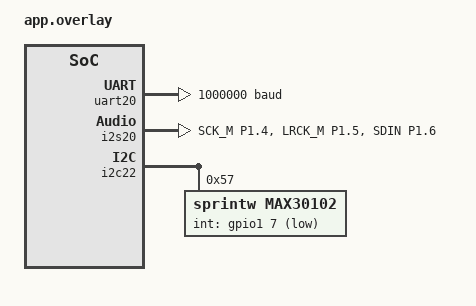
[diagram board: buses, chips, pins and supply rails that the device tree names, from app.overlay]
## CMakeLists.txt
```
# SPDX-License-Identifier: Apache-2.0
# Sprint W 수집 펌웨어 (Acquisition firmware) — Day 2: PPG, Day 3: 마이크·IMU, Day 4: 통합

cmake_minimum_required(VERSION 3.20.0)
find_package(Zephyr REQUIRED HINTS $ENV{ZEPHYR_BASE})
project(acq_fw)

target_sources(app PRIVATE
	src/main.c
	src/frame_tx.c
	src/mic.c
	src/mic_pdm.c
	src/imu.c
	src/max30102.c
)

# MIC_RAW=1 이면 decimation 없이 33.3 kHz 원본을 보냄 (짧은 비교 시험용)
# MIC_RAW=1 sends the 33.3 kHz stream without decimation (short comparison test)
if(DEFINED MIC_RAW)
	target_compile_definitions(app PRIVATE MIC_RAW=${MIC_RAW})
endif()

# 센서 선택 (Sensor selection) — 기본은 모두 켬 (all on by default)
#   -DMIC_I2S=0 : SPH0645(I2S) 끔 / disable SPH0645
#   -DMIC_PDM=0 : 내장 PDM 마이크 끔 / disable on-board PDM mic
#   -DIMU=0     : 내장 IMU 끔 / disable on-board IMU
#   -DPPG=0     : MAX30102 끔 / disable MAX30102
#   -DPPG_LED_RED=0x24 -DPPG_LED_IR=0x24 : PPG LED 전류 (0.2 mA/LSB)
#   -DPDM_OUT_CH=1 : PDM 출력 채널 R / output the R channel
foreach(opt MIC_I2S MIC_PDM IMU PPG)
	if(NOT DEFINED ${opt})
		set(${opt} 1)
	endif()
	target_compile_definitions(app PRIVATE ${opt}=${${opt}})
endforeach()
if(DEFINED PDM_OUT_CH)
	target_compile_definitions(app PRIVATE PDM_OUT_CH=${PDM_OUT_CH})
endif()
foreach(opt PPG_LED_RED PPG_LED_IR)
	if(DEFINED ${opt})
		target_compile_definitions(app PRIVATE ${opt}=${${opt}})
	endif()
endforeach()
```

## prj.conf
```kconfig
# acq_fw 설정 (Configuration)

# uart20은 바이너리 프레임 전용 → 콘솔·로그 끔 (uart20 carries binary frames only)
CONFIG_CONSOLE=n
CONFIG_UART_CONSOLE=n
CONFIG_LOG=n
CONFIG_BOOT_BANNER=n

# UART 비동기 API (EasyDMA) / UART async API
CONFIG_SERIAL=y
CONFIG_UART_ASYNC_API=y

# CRC-16/XMODEM
CONFIG_CRC=y

# LED
CONFIG_GPIO=y

# I2S (SPH0645)
CONFIG_I2S=y

# PDM 내장 마이크 (on-board PDM mic, dmic API)
CONFIG_AUDIO=y
CONFIG_AUDIO_DMIC=y

# I2C: 내장 IMU(i2c30) + MAX30102(i2c22), 둘 다 레지스터 직접 접근 (raw I2C; Zephyr 센서 드라이버 안 씀)
CONFIG_I2C=y

# Decimation: CMSIS-DSP FIR (Cortex-M33 FPU, float32)
CONFIG_FPU=y
CONFIG_CMSIS_DSP=y
CONFIG_CMSIS_DSP_FILTERING=y

# 스레드 스택 (mic 스레드에서 float 처리) / stacks
CONFIG_MAIN_STACK_SIZE=2048
```

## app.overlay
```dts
/*
 * acq_fw overlay — XIAO nRF54L15 (notes/pinmap.md 기준 / per notes/pinmap.md)
 *
 * uart20: 콘솔 UART → SAMD11 → USB. Gate 0 결정대로 1 Mbaud (notes/gate0.md)
 * i2s20 : SPH0645 — SCK=D0(P1.04, clock pin), LRCK=D1(P1.05), SDIN=D2(P1.06)
 *         PS Table 77: I2S에서 clock pin 필요한 신호는 SCK·MCK뿐 (LRCK 불필요)
 *         PS I2S20 "Available GPIO port: P1"
 */

&uart20 {
	current-speed = <1000000>;
};

&pinctrl {
	i2s20_default: i2s20_default {
		group1 {
			psels = <NRF_PSEL(I2S_SCK_M, 1, 4)>,
				<NRF_PSEL(I2S_LRCK_M, 1, 5)>,
				<NRF_PSEL(I2S_SDIN, 1, 6)>;
		};
	};
};

&i2s20 {
	status = "okay";
	pinctrl-0 = <&i2s20_default>;
	pinctrl-names = "default";
};

/*
 * i2c22 (xiao_i2c): SDA=D4(P1.10), SCL=D5(P1.11), 400 kHz — 보드 기본값 그대로
 * MAX30102 0x57, INT=D3(P1.07): 오픈드레인 + 모듈 풀업 없음 → 내부 풀업 (d2-5)
 */
#include <zephyr/dt-bindings/gpio/gpio.h>

&i2c22 {
	status = "okay";

	max30102: max30102@57 {
		compatible = "sprintw,max30102";
		reg = <0x57>;
		int-gpios = <&gpio1 7 (GPIO_PULL_UP | GPIO_ACTIVE_LOW)>;
	};
};
```

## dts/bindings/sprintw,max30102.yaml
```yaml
# MAX30102 PPG 센서 (최소 바인딩, minimal binding) — apps/acq_fw/src/ppg.c 가 레지스터 직접 사용
# Zephyr 센서 드라이버를 쓰지 않으므로 전용 compatible을 둠 (no Zephyr sensor driver)
description: MAX30102 pulse oximeter (raw register access by acq_fw)

compatible: "sprintw,max30102"

include: [i2c-device.yaml]

properties:
  int-gpios:
    type: phandle-array
    required: true
    description: INT 핀 (오픈드레인, active low) / INT pin (open-drain, active low)
```

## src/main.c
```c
/*
 * Sprint W 수집 펌웨어 (Acquisition firmware) — XIAO nRF54L15
 *
 * Day 3: SPH0645 마이크(I2S) → MIC / MIC_DIAG 프레임
 *        내장 PDM 마이크     → MIC_PDM / PDM_DIAG 프레임 → uart20 (1 Mbaud) → PC
 *        내장 IMU           → IMU / IMU_DIAG 프레임
 * Day 2: MAX30102 (i2c22)   → PPG / PPG_DIAG 프레임
 *        (CMake -DMIC_I2S=0 / -DMIC_PDM=0 / -DIMU=0 / -DPPG=0 으로 각각 끔 / disable each)
 * (Day 4 통합은 이 위에 추가 / integration is added later)
 *
 * LED: 0.5초 깜빡임 = 정상, 빠른 깜빡임(0.1초) = 초기화 실패
 * LED: 0.5 s blink = running, fast 0.1 s blink = init failed
 */
#include <zephyr/kernel.h>
#include <zephyr/drivers/gpio.h>

#include "frame_tx.h"
#include "mic.h"
#include "mic_pdm.h"
#include "imu.h"
#include "max30102.h"

static const struct gpio_dt_spec led = GPIO_DT_SPEC_GET(DT_ALIAS(led0), gpios);

int main(void)
{
	int blink_ms = 500;

	if (gpio_is_ready_dt(&led)) {
		gpio_pin_configure_dt(&led, GPIO_OUTPUT_INACTIVE);
	}

	if (frame_tx_init() != 0) {
		blink_ms = 100; /* 초기화 실패 표시 (init failure) */
	}
#if MIC_I2S
	if (mic_start() != 0) {
		blink_ms = 100;
	}
#endif
#if MIC_PDM
	if (mic_pdm_start() != 0) {
		blink_ms = 100;
	}
#endif
#if IMU
	if (imu_start() != 0) {
		blink_ms = 100;
	}
#endif
#if PPG
	if (max30102_start() != 0) {
		blink_ms = 100;
	}
#endif

	while (1) {
		gpio_pin_toggle_dt(&led);
		k_msleep(blink_ms);
	}
	return 0;
}
```

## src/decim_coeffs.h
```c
/*
 * 자동 생성 — 직접 고치지 말 것 (Auto-generated by analysis/design_decim.py)
 * I2S SPH0645: FS_IN = 33333.3333 Hz, DECIM = 4, FS_OUT = 8333.3333 Hz
 * 63 taps, cutoff 3300 Hz, Kaiser beta 7.0
 */
#ifndef DECIM_COEFFS_H_
#define DECIM_COEFFS_H_

#define DECIM_FACTOR   4
#define DECIM_NUM_TAPS 63

/* CMSIS-DSP는 계수를 시간 역순으로 받지만 대칭 FIR이라 순서 무관
 * CMSIS-DSP expects time-reversed taps; a symmetric FIR is unaffected */
static const float decim_coeffs[DECIM_NUM_TAPS] = {
	 2.558722318e-05f, -2.290871992e-05f, -1.521229189e-04f, -3.270997904e-04f,
	-4.340998293e-04f, -3.131094679e-04f,  1.506312149e-04f,  9.091998469e-04f,
	 1.677813151e-03f,  1.978352798e-03f,  1.333051286e-03f, -4.405714734e-04f,
	-2.967287074e-03f, -5.255540640e-03f, -5.964414687e-03f, -3.979892480e-03f,
	 8.936008618e-04f,  7.452015671e-03f,  1.314696839e-02f,  1.483521596e-02f,
	 1.008383383e-02f, -1.414889490e-03f, -1.693535175e-02f, -3.085545197e-02f,
	-3.603556862e-02f, -2.614172848e-02f,  1.837292750e-03f,  4.583209936e-02f,
	 9.847932224e-02f,  1.487279371e-01f,  1.848682991e-01f,  1.980176333e-01f,
	 1.848682991e-01f,  1.487279371e-01f,  9.847932224e-02f,  4.583209936e-02f,
	 1.837292750e-03f, -2.614172848e-02f, -3.603556862e-02f, -3.085545197e-02f,
	-1.693535175e-02f, -1.414889490e-03f,  1.008383383e-02f,  1.483521596e-02f,
	 1.314696839e-02f,  7.452015671e-03f,  8.936008618e-04f, -3.979892480e-03f,
	-5.964414687e-03f, -5.255540640e-03f, -2.967287074e-03f, -4.405714734e-04f,
	 1.333051286e-03f,  1.978352798e-03f,  1.677813151e-03f,  9.091998469e-04f,
	 1.506312149e-04f, -3.131094679e-04f, -4.340998293e-04f, -3.270997904e-04f,
	-1.521229189e-04f, -2.290871992e-05f,  2.558722318e-05f,
};

#endif /* DECIM_COEFFS_H_ */
```

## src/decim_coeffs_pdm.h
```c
/*
 * 자동 생성 — 직접 고치지 말 것 (Auto-generated by analysis/design_decim.py)
 * PDM on-board: FS_IN = 16666.6667 Hz, DECIM = 2, FS_OUT = 8333.3333 Hz
 * 31 taps, cutoff 3300 Hz, Kaiser beta 7.0
 */
#ifndef DECIM_COEFFS_PDM_H_
#define DECIM_COEFFS_PDM_H_

#define PDM_DECIM_FACTOR   2
#define PDM_DECIM_NUM_TAPS 31

/* CMSIS-DSP는 계수를 시간 역순으로 받지만 대칭 FIR이라 순서 무관
 * CMSIS-DSP expects time-reversed taps; a symmetric FIR is unaffected */
static const float pdm_decim_coeffs[PDM_DECIM_NUM_TAPS] = {
	-2.358507618e-05f, -4.438488235e-04f, -4.773262161e-04f,  1.486067977e-03f,
	 3.393128028e-03f, -7.832300435e-04f, -9.606994513e-03f, -7.438091136e-03f,
	 1.417754824e-02f,  2.863205713e-02f, -2.762210237e-03f, -6.077943707e-02f,
	-5.184209456e-02f,  9.131768017e-02f,  2.971530658e-01f,  3.959945407e-01f,
	 2.971530658e-01f,  9.131768017e-02f, -5.184209456e-02f, -6.077943707e-02f,
	-2.762210237e-03f,  2.863205713e-02f,  1.417754824e-02f, -7.438091136e-03f,
	-9.606994513e-03f, -7.832300435e-04f,  3.393128028e-03f,  1.486067977e-03f,
	-4.773262161e-04f, -4.438488235e-04f, -2.358507618e-05f,
};

#endif /* DECIM_COEFFS_PDM_H_ */
```

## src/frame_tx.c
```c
/*
 * 프레임 송신 모듈 구현 (Frame transmit module implementation)
 *
 * 구조 (Design):
 *   생산자(mic, ppg 스레드) → frame_tx_send(): 풀에서 버퍼를 받아 프레임을 만들고 큐에 넣음
 *   송신 스레드: 큐에서 꺼내 uart_tx(DMA) → TX_DONE까지 기다림 → 버퍼 반납
 *   Producers build frames into pool buffers and queue them; one TX thread
 *   sends each with uart_tx (EasyDMA) and frees the buffer on TX_DONE.
 */
#include "frame_tx.h"

#include <errno.h>
#include <string.h>
#include <zephyr/kernel.h>
#include <zephyr/device.h>
#include <zephyr/drivers/uart.h>
#include <zephyr/sys/byteorder.h>
#include <zephyr/sys/crc.h>

#define HDR_LEN     15
#define CRC_LEN     2
#define BUF_SIZE    ROUND_UP(HDR_LEN + FRAME_MAX_PAYLOAD + CRC_LEN, 4)
#define POOL_COUNT  24

struct tx_item {
	uint8_t *buf;
	uint16_t len;
};

K_MEM_SLAB_DEFINE_STATIC(tx_pool, BUF_SIZE, POOL_COUNT, 4);
K_MSGQ_DEFINE(tx_q, sizeof(struct tx_item), POOL_COUNT, 4);
static K_SEM_DEFINE(tx_done, 0, 1);

static const struct device *const uart_dev = DEVICE_DT_GET(DT_NODELABEL(uart20));
static uint16_t seq_by_type[128];
static atomic_t dropped;
static atomic_t tx_errors;
static struct k_spinlock seq_lock;

uint32_t dev_time_us(void)
{
	return (uint32_t)k_ticks_to_us_floor64(k_uptime_ticks());
}

uint32_t frame_tx_dropped(void)
{
	return (uint32_t)atomic_get(&dropped);
}

static void uart_cb(const struct device *dev, struct uart_event *evt, void *user_data)
{
	ARG_UNUSED(dev);
	ARG_UNUSED(user_data);

	if (evt->type == UART_TX_DONE) {
		k_sem_give(&tx_done);
	} else if (evt->type == UART_TX_ABORTED) {
		atomic_inc(&tx_errors);
		k_sem_give(&tx_done);
	}
}

int frame_tx_send(uint8_t type, uint32_t t_dev_us, uint32_t first_idx,
		  const void *payload, uint16_t len)
{
	uint8_t *f;
	uint16_t seq;
	k_spinlock_key_t key;

	if (len > FRAME_MAX_PAYLOAD || type >= ARRAY_SIZE(seq_by_type)) {
		return -EMSGSIZE;
	}
	if (k_mem_slab_alloc(&tx_pool, (void **)&f, K_NO_WAIT) != 0) {
		atomic_inc(&dropped);
		/* seq는 증가시켜 PC가 손실을 알 수 있게 함 (advance seq so the PC sees a gap) */
		key = k_spin_lock(&seq_lock);
		seq_by_type[type]++;
		k_spin_unlock(&seq_lock, key);
		return -ENOMEM;
	}

	key = k_spin_lock(&seq_lock);
	seq = seq_by_type[type]++;
	k_spin_unlock(&seq_lock, key);

	f[0] = 0xA5;
	f[1] = 0x5A;
	f[2] = type;
	sys_put_le16(len, &f[3]);
	sys_put_le16(seq, &f[5]);
	sys_put_le32(t_dev_us, &f[7]);
	sys_put_le32(first_idx, &f[11]);
	memcpy(&f[HDR_LEN], payload, len);
	sys_put_le16(crc16_itu_t(0, f, HDR_LEN + len), &f[HDR_LEN + len]);

	struct tx_item item = {.buf = f, .len = HDR_LEN + len + CRC_LEN};

	if (k_msgq_put(&tx_q, &item, K_NO_WAIT) != 0) {
		/* 풀 크기 = 큐 크기라 보통 일어나지 않음 (pool size == queue size) */
		k_mem_slab_free(&tx_pool, f);
		atomic_inc(&dropped);
		return -ENOMEM;
	}
	return 0;
}

static void tx_thread(void *a, void *b, void *c)
{
	ARG_UNUSED(a);
	ARG_UNUSED(b);
	ARG_UNUSED(c);
	struct tx_item item;

	while (1) {
		k_msgq_get(&tx_q, &item, K_FOREVER);
		if (uart_tx(uart_dev, item.buf, item.len, SYS_FOREVER_US) == 0) {
			k_sem_take(&tx_done, K_FOREVER);
		} else {
			atomic_inc(&tx_errors);
		}
		k_mem_slab_free(&tx_pool, item.buf);
	}
}

K_THREAD_STACK_DEFINE(tx_stack, 1024);
static struct k_thread tx_thread_data;

int frame_tx_init(void)
{
	int err;

	if (!device_is_ready(uart_dev)) {
		return -ENODEV;
	}
	err = uart_callback_set(uart_dev, uart_cb, NULL);
	if (err) {
		return err;
	}
	/* 송신 스레드는 생산자보다 높은 우선순위 (TX thread above producers) */
	k_thread_create(&tx_thread_data, tx_stack, K_THREAD_STACK_SIZEOF(tx_stack),
			tx_thread, NULL, NULL, NULL, K_PRIO_PREEMPT(2), 0, K_NO_WAIT);
	k_thread_name_set(&tx_thread_data, "frame_tx");
	return 0;
}
```

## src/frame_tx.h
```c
/*
 * 프레임 송신 모듈 (Frame transmit module) — uart20 → SAMD11 → USB
 *
 * 형식은 계획서 1.3절 (format: plan section 1.3), little-endian:
 *   sync A5 5A | type | len(2) | seq(2) | t_dev_us(4) | first_idx(4) | payload | crc(2)
 * seq는 타입별로 따로 증가 (per-type sequence numbers).
 */
#ifndef FRAME_TX_H_
#define FRAME_TX_H_

#include <stdint.h>

#define FRAME_TYPE_PPG      1
#define FRAME_TYPE_MIC      2
#define FRAME_TYPE_EVENT    3
#define FRAME_TYPE_STATUS   4
#define FRAME_TYPE_MIC_PDM  5    /* 내장 PDM 마이크 (on-board PDM mic), int16 8 333.33 Hz */
#define FRAME_TYPE_IMU      6    /* 내장 IMU (on-board IMU), 6축 int16 104 Hz */
#define FRAME_TYPE_PPG_DIAG 0x7B /* MAX30102 진단 (PPG diagnostics) */
#define FRAME_TYPE_IMU_DIAG 0x7C /* 내장 IMU 진단 (on-board IMU diagnostics) */
#define FRAME_TYPE_PDM_DIAG 0x7D /* 내장 마이크 진단 (on-board mic diagnostics) */
#define FRAME_TYPE_MIC_DIAG 0x7E /* Day 3 진단용 (diagnostics) */
#define FRAME_TYPE_TEST     0x7F

#define FRAME_MAX_PAYLOAD   600

/** 초기화: UART 콜백·송신 스레드 시작 (init UART callback and TX thread). 0 = OK */
int frame_tx_init(void);

/**
 * 프레임 하나를 큐에 넣음 — 복사하므로 payload는 바로 재사용 가능.
 * Queue one frame (payload is copied).
 *
 * @return 0, -EMSGSIZE(payload 너무 큼), -ENOMEM(버퍼 풀 가득 → 버려짐, 카운트됨)
 */
int frame_tx_send(uint8_t type, uint32_t t_dev_us, uint32_t first_idx,
		  const void *payload, uint16_t len);

/** 버퍼가 없어 버린 프레임 수 (frames dropped because the pool was full) */
uint32_t frame_tx_dropped(void);

/** 기기 시계 [µs], uint32 (약 71.6분마다 0) / device clock in µs */
uint32_t dev_time_us(void);

#endif /* FRAME_TX_H_ */
```

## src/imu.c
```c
/*
 * 내장 IMU 수신 (On-board IMU capture) — LSM6DSO / LSM6DS3TR-C 공통 레지스터 사용
 *
 * 흐름 (Flow):
 *   INT1(P0.02) 상승 에지 = 새 가속도 샘플 (DRDY_XL) → 시각 기록 + 세마포어
 *   → 스레드가 0x1E부터 16 B 한 번에 읽음 (STATUS, 온도, 자이로, 가속도)
 *   DRDY는 데이터를 읽을 때까지 high로 유지되므로 에지를 놓치면 멈출 수 있음 →
 *   30 ms 시간 초과 때도 STATUS를 읽어 복구 (timeout path recovers a missed edge)
 *
 * 레지스터 (Registers, 두 칩 동일 / identical on both chips):
 *   0x0D INT1_CTRL, 0x0F WHO_AM_I, 0x10 CTRL1_XL, 0x11 CTRL2_G, 0x12 CTRL3_C,
 *   0x1E STATUS_REG, 0x20 OUT_TEMP, 0x22 OUTX_L_G … 0x2D OUTZ_H_XL
 */
#include "imu.h"
#include "frame_tx.h"

#include <errno.h>
#include <string.h>
#include <zephyr/kernel.h>
#include <zephyr/device.h>
#include <zephyr/drivers/i2c.h>
#include <zephyr/drivers/gpio.h>
#include <zephyr/sys/byteorder.h>

#define IMU_NODE DT_NODELABEL(lsm6dso)

/* 레지스터 (registers) */
#define REG_INT1_CTRL  0x0D
#define REG_WHO_AM_I   0x0F
#define REG_CTRL1_XL   0x10
#define REG_CTRL2_G    0x11
#define REG_CTRL3_C    0x12
#define REG_STATUS     0x1E

#define WHO_LSM6DS3TRC 0x6A
#define WHO_LSM6DSO    0x6C

/* 설정 값 (config values) */
#define ODR_104HZ      0x40       /* ODR[7:4] = 0100 */
#define FS_XL_4G       0x08       /* FS_XL[3:2] = 10 → ±4 g */
#define FS_G_500DPS    0x04       /* FS_G[3:2] = 01 → ±500 dps */
#define CTRL3_BDU      BIT(6)     /* 블록 단위 갱신 (block data update) */
#define CTRL3_IF_INC   BIT(2)     /* 주소 자동 증가 (auto-increment) */
#define CTRL3_SW_RESET BIT(0)
#define INT1_DRDY_XL   BIT(0)
#define STATUS_XLDA    BIT(0)

#define IMU_ODR_HZ     104
#define IMU_FS_G       4
#define IMU_FS_DPS     500
#define SAMPLES_PER_FRAME 8       /* 약 77 ms (≈ 77 ms) */
#define AXES           6
#define DIAG_EVERY     13         /* 13 프레임 = 104 샘플 ≈ 1 s */
#define WAIT_MS        30         /* 샘플 간격 9.6 ms의 약 3배 (≈ 3 periods) */

BUILD_ASSERT(SAMPLES_PER_FRAME * AXES * sizeof(int16_t) <= FRAME_MAX_PAYLOAD, "frame too large");

static const struct i2c_dt_spec bus = I2C_DT_SPEC_GET(IMU_NODE);
static const struct gpio_dt_spec irq = GPIO_DT_SPEC_GET(IMU_NODE, irq_gpios);
static struct gpio_callback irq_cb;

static K_SEM_DEFINE(drdy_sem, 0, 1);
static volatile uint32_t drdy_t_us; /* 마지막 INT1 에지 시각 (last INT1 edge time) */

struct imu_stats {
	uint8_t who;          /* WHO_AM_I (0 = 아직 못 읽음 / not read yet) */
	int8_t init_err;      /* 마지막 초기화 결과 (last init result, -errno) */
	int16_t temp_raw;     /* 256 LSB/°C, 0 = 25 °C */
	uint32_t samples;     /* 누적 샘플 (total samples) */
	uint32_t gaps;        /* 간격 > 1.5 주기 횟수 (intervals > 1.5 periods) */
	uint32_t i2c_errors;
	uint32_t timeouts;    /* INT1 없이 30 ms 경과 (no INT1 for 30 ms) */
	uint32_t dt_min_us;   /* 창 내 샘플 간격 (sample interval in window) */
	uint32_t dt_max_us;
};

static struct imu_stats st;

static void drdy_isr(const struct device *dev, struct gpio_callback *cb, uint32_t pins)
{
	ARG_UNUSED(dev);
	ARG_UNUSED(cb);
	ARG_UNUSED(pins);
	drdy_t_us = dev_time_us();
	k_sem_give(&drdy_sem);
}

static void send_diag(void)
{
	uint8_t p[40]; /* struct "<BBbBHHHhIIIIIII" */
	uint8_t *q = p;

	*q++ = 1;                                  /* version */
	*q++ = st.who;
	*q++ = (uint8_t)st.init_err;
	*q++ = 0;                                  /* reserved */
	sys_put_le16(IMU_ODR_HZ, q); q += 2;
	sys_put_le16(IMU_FS_G, q); q += 2;
	sys_put_le16(IMU_FS_DPS, q); q += 2;
	sys_put_le16((uint16_t)st.temp_raw, q); q += 2;
	sys_put_le32(st.samples, q); q += 4;
	sys_put_le32(st.gaps, q); q += 4;
	sys_put_le32(st.i2c_errors, q); q += 4;
	sys_put_le32(st.timeouts, q); q += 4;
	sys_put_le32(frame_tx_dropped(), q); q += 4;
	sys_put_le32(st.dt_min_us == UINT32_MAX ? 0 : st.dt_min_us, q); q += 4;
	sys_put_le32(st.dt_max_us, q); q += 4;

	(void)frame_tx_send(FRAME_TYPE_IMU_DIAG, dev_time_us(), 0, p, (uint16_t)(q - p));
	st.dt_min_us = UINT32_MAX;
	st.dt_max_us = 0;
}

/* 칩 확인 + 설정 (identify and configure). 0 = OK */
static int chip_init(void)
{
	uint8_t who = 0;
	uint8_t v = 0;
	int err = i2c_reg_read_byte_dt(&bus, REG_WHO_AM_I, &who);

	if (err) {
		return err;
	}
	st.who = who;
	if (who != WHO_LSM6DS3TRC && who != WHO_LSM6DSO) {
		return -ENODEV;
	}

	/* 소프트 리셋 → 보드 DTS의 저전력 모드 등 이전 설정 제거 (clears ULP etc.) */
	err = i2c_reg_write_byte_dt(&bus, REG_CTRL3_C, CTRL3_SW_RESET);
	if (err) {
		return err;
	}
	for (int i = 0; i < 10; i++) {
		k_msleep(1);
		err = i2c_reg_read_byte_dt(&bus, REG_CTRL3_C, &v);
		if (!err && !(v & CTRL3_SW_RESET)) {
			break;
		}
	}
	if (err || (v & CTRL3_SW_RESET)) {
		return err ? err : -ETIMEDOUT;
	}

	const uint8_t cfg[][2] = {
		{REG_CTRL3_C, CTRL3_BDU | CTRL3_IF_INC},
		{REG_CTRL1_XL, ODR_104HZ | FS_XL_4G},
		{REG_CTRL2_G, ODR_104HZ | FS_G_500DPS},
		{REG_INT1_CTRL, INT1_DRDY_XL},
	};

	for (size_t i = 0; i < ARRAY_SIZE(cfg); i++) {
		err = i2c_reg_write_byte_dt(&bus, cfg[i][0], cfg[i][1]);
		if (err) {
			return err;
		}
	}
	return 0;
}

static void imu_thread(void *a, void *b, void *c)
{
	ARG_UNUSED(a);
	ARG_UNUSED(b);
	ARG_UNUSED(c);

	int16_t buf[SAMPLES_PER_FRAME * AXES];
	uint32_t n = 0;          /* 버퍼 안 샘플 수 (samples in buffer) */
	uint32_t idx = 0;        /* 누적 샘플 번호 (sample index) */
	uint32_t frames = 0;
	uint32_t last_t = 0;
	bool have_last = false;
	const uint32_t period_us = 1000000U / IMU_ODR_HZ;

	st.dt_min_us = UINT32_MAX;
	k_msleep(20); /* 전원 안정화 (power-up, startup-delay 5 ms + 여유) */

	while ((st.init_err = (int8_t)chip_init()) != 0) {
		send_diag(); /* WHO_AM_I·오류를 PC에 알림 (report failure) */
		k_msleep(1000);
	}

	while (1) {
		uint8_t raw[16]; /* 0x1E STATUS, 0x1F, 0x20-21 TEMP, 0x22-27 G, 0x28-2D XL */
		uint32_t t_us;

		if (k_sem_take(&drdy_sem, K_MSEC(WAIT_MS)) != 0) {
			st.timeouts++;
			t_us = dev_time_us();
		} else {
			t_us = drdy_t_us;
		}

		if (i2c_burst_read_dt(&bus, REG_STATUS, raw, sizeof(raw)) != 0) {
			st.i2c_errors++;
			k_msleep(10);
			continue;
		}
		if (!(raw[0] & STATUS_XLDA)) {
			continue; /* 새 데이터 없음 (no new sample) */
		}

		if (have_last) {
			const uint32_t dt = t_us - last_t;

			st.dt_min_us = MIN(st.dt_min_us, dt);
			st.dt_max_us = MAX(st.dt_max_us, dt);
			if (dt > period_us + period_us / 2) {
				st.gaps++;
			}
		}
		last_t = t_us;
		have_last = true;

		st.temp_raw = (int16_t)sys_get_le16(&raw[2]);
		/* 출력 순서: 가속도 xyz, 자이로 xyz (output order: accel then gyro) */
		int16_t *s = &buf[n * AXES];

		for (int k = 0; k < 3; k++) {
			s[k] = (int16_t)sys_get_le16(&raw[10 + 2 * k]);    /* XL 0x28 */
			s[3 + k] = (int16_t)sys_get_le16(&raw[4 + 2 * k]); /* G 0x22 */
		}
		st.samples++;

		if (++n == SAMPLES_PER_FRAME) {
			/* t_dev_us = 마지막 샘플 시각, first_idx = 첫 샘플 번호 */
			(void)frame_tx_send(FRAME_TYPE_IMU, t_us, idx, buf, sizeof(buf));
			idx += n;
			n = 0;
			if (++frames % DIAG_EVERY == 0) {
				send_diag();
			}
		}
	}
}

K_THREAD_STACK_DEFINE(imu_stack, 1536);
static struct k_thread imu_thread_data;

int imu_start(void)
{
	int err;

	if (!i2c_is_ready_dt(&bus) || !gpio_is_ready_dt(&irq)) {
		return -ENODEV;
	}
	err = gpio_pin_configure_dt(&irq, GPIO_INPUT);
	if (err) {
		return err;
	}
	gpio_init_callback(&irq_cb, drdy_isr, BIT(irq.pin));
	err = gpio_add_callback_dt(&irq, &irq_cb);
	if (err) {
		return err;
	}
	err = gpio_pin_interrupt_configure_dt(&irq, GPIO_INT_EDGE_TO_ACTIVE);
	if (err) {
		return err;
	}
	k_thread_create(&imu_thread_data, imu_stack, K_THREAD_STACK_SIZEOF(imu_stack),
			imu_thread, NULL, NULL, NULL, K_PRIO_PREEMPT(4), 0, K_NO_WAIT);
	k_thread_name_set(&imu_thread_data, "imu");
	return 0;
}
```

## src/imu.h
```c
/*
 * 내장 IMU 모듈 (On-board IMU, XIAO nRF54L15 Sense)
 *
 * i2c30: SDA P0.03, SCL P0.04, 주소 0x6A, INT1 P0.02 (보드 DTS / board DTS)
 * 전원은 PDM 마이크와 공유 (P0.01 pdm_imu_pwr, regulator-boot-on)
 *
 * 칩: 보드 DTS는 LSM6DSO(WHO_AM_I 0x6C), Seeed 자료는 LSM6DS3TR-C(0x6A).
 * 두 칩 모두 이 모듈이 쓰는 레지스터 주소가 같아 직접 레지스터로 다룸.
 * Chip: DTS says LSM6DSO, Seeed docs say LSM6DS3TR-C; both share the registers
 * used here, so this module talks to registers directly (no Zephyr sensor driver).
 *
 * 설정 (Config): 104 Hz, 가속도 ±4 g, 자이로 ±500 dps, DRDY_XL → INT1
 * 출력 (Output):
 *   IMU (type 6): 샘플 8개 × [ax, ay, az, gx, gy, gz] int16 (96 B, 약 77 ms)
 *   IMU_DIAG (0x7C): 약 1초마다 WHO_AM_I, 온도, 샘플 간격 최소/최대, 오류
 */
#ifndef IMU_H_
#define IMU_H_

/** IMU 스레드 시작 (start the IMU thread). 0 = OK. 칩 초기화는 스레드에서 재시도 */
int imu_start(void);

#endif /* IMU_H_ */
```

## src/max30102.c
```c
/*
 * MAX30102 PPG 수신 (MAX30102 PPG capture) — Day 2, 레지스터 직접 접근 (raw registers)
 *
 * 흐름 (Flow):
 *   FIFO에 미읽음 샘플 17개가 쌓이면 A_FULL → INT(D3) low → ISR: 시각 기록 + 세마포어
 *   → 스레드: INT Status 1 읽기(INT 해제) → FIFO 포인터 → FIFO 일괄 읽기 → PPG 프레임
 *   ISR에서는 I2C를 쓰지 않음 (no I2C in ISR). INT를 놓쳐도 300 ms 시간 초과 경로가
 *   같은 읽기를 해서 복구 (timeout path recovers a missed edge).
 *   (계획 d2-5는 워크큐였지만 IMU와 같은 전용 스레드 구조로 통일 / thread instead of workqueue)
 *
 * 시각 (Timestamp): 에지 = 미읽음이 정확히 17개가 된 순간 → 그 17번째 샘플의 시각.
 *   읽을 때 더 쌓였으면 (n > 17) 주기 × (n − 17) 만큼 더함. 시간 초과 경로는 읽은 시각.
 *
 * 레지스터 (Registers, MAX30102 datasheet rev 1):
 *   0x00 INT_STATUS1 (A_FULL b7, PPG_RDY b6, ALC_OVF b5, PWR_RDY b0), 0x02 INT_EN1,
 *   0x04 FIFO_WR_PTR, 0x05 OVF_COUNTER, 0x06 FIFO_RD_PTR, 0x07 FIFO_DATA,
 *   0x08 FIFO_CONFIG, 0x09 MODE_CONFIG, 0x0A SPO2_CONFIG, 0x0C LED1(Red) PA, 0x0D LED2(IR) PA,
 *   0xFE REV_ID, 0xFF PART_ID (= 0x15)
 */
#include "max30102.h"
#include "frame_tx.h"

#include <errno.h>
#include <string.h>
#include <zephyr/kernel.h>
#include <zephyr/device.h>
#include <zephyr/drivers/i2c.h>
#include <zephyr/drivers/gpio.h>
#include <zephyr/sys/byteorder.h>

#define PPG_NODE DT_NODELABEL(max30102)

#define REG_INT_STATUS1 0x00
#define REG_INT_EN1     0x02
#define REG_INT_EN2     0x03
#define REG_FIFO_WR     0x04
#define REG_FIFO_DATA   0x07
#define REG_FIFO_CFG    0x08
#define REG_MODE_CFG    0x09
#define REG_SPO2_CFG    0x0A
#define REG_LED1_PA     0x0C
#define REG_LED2_PA     0x0D
#define REG_REV_ID      0xFE
#define REG_PART_ID     0xFF

#define PART_ID_MAX30102 0x15

#define INT_A_FULL   BIT(7)
#define INT_PWR_RDY  BIT(0)
#define MODE_RESET   BIT(6)
#define MODE_SPO2    0x03 /* Red + IR */

/* FIFO_CONFIG: SMP_AVE[7:5]=000(평균 없음), ROLLOVER_EN=0, A_FULL[3:0]=15 → 미읽음 17개 */
#define FIFO_A_FULL  15
#define FIFO_CFG_VAL (FIFO_A_FULL)
#define FIFO_DEPTH   32
#define BATCH        (FIFO_DEPTH - FIFO_A_FULL) /* 17 */

/* SPO2_CONFIG: ADC_RGE[6:5]=01(4096 nA), SR[4:2]=001(100 Hz), LED_PW[1:0]=11(411 µs, 18 bit) */
#define SPO2_CFG_VAL ((1 << 5) | (1 << 2) | 3) /* 0x27 */
#define PPG_RATE_HZ  100

/* LED 전류 (LED current), 0.2 mA/LSB: 0x24 = 7.2 mA. CMake -DPPG_LED_RED / -DPPG_LED_IR */
#ifndef PPG_LED_RED
#define PPG_LED_RED 0x24
#endif
#ifndef PPG_LED_IR
#define PPG_LED_IR 0x24
#endif

#define WAIT_MS      300 /* 배치 간격 170 ms의 약 2배 (≈ 2 batches) */
#define DIAG_MS      1000
#define SAMPLE_MASK  0x3FFFF /* 18비트 (18-bit) */

static const struct i2c_dt_spec bus = I2C_DT_SPEC_GET(PPG_NODE);
static const struct gpio_dt_spec irq = GPIO_DT_SPEC_GET(PPG_NODE, int_gpios);
static struct gpio_callback irq_cb;

static K_SEM_DEFINE(int_sem, 0, 1);
static volatile uint32_t int_t_us; /* 마지막 INT 에지 시각 (last INT edge time) */

struct ppg_stats {
	uint8_t part;         /* PART_ID (0 = 아직 못 읽음 / not read yet) */
	uint8_t rev;
	int8_t init_err;      /* 마지막 초기화 결과 (last init result, -errno) */
	uint8_t scan_n;       /* i2c22에서 ACK한 주소 개수 (addresses that ACKed) */
	uint8_t scan[3];      /* 처음 3개 (first three) */
	uint32_t samples;     /* 보낸 샘플 (samples sent) */
	uint32_t ovf_samples; /* FIFO가 넘쳐 잃은 샘플 (OVF_COUNTER 합) */
	uint32_t i2c_errors;
	uint32_t timeouts;    /* INT 없이 300 ms 경과 (no INT for 300 ms) */
	uint32_t reinits;     /* PWR_RDY 감지 → 재초기화 (chip reset detected) */
	uint16_t batch_min;   /* 창 내 한 번에 읽은 샘플 수 (samples per read in window) */
	uint16_t batch_max;
};

static struct ppg_stats st;

static void int_isr(const struct device *dev, struct gpio_callback *cb, uint32_t pins)
{
	ARG_UNUSED(dev);
	ARG_UNUSED(cb);
	ARG_UNUSED(pins);
	int_t_us = dev_time_us();
	k_sem_give(&int_sem);
}

static void send_diag(void)
{
	uint8_t p[40]; /* struct "<BBBbBBBBB3sIIIIIIHH" */
	uint8_t *q = p;

	*q++ = 1;                 /* version */
	*q++ = st.part;
	*q++ = st.rev;
	*q++ = (uint8_t)st.init_err;
	*q++ = SPO2_CFG_VAL;
	*q++ = FIFO_CFG_VAL;
	*q++ = PPG_LED_RED;
	*q++ = PPG_LED_IR;
	*q++ = st.scan_n;
	memcpy(q, st.scan, 3); q += 3;
	sys_put_le32(st.samples, q); q += 4;
	sys_put_le32(st.ovf_samples, q); q += 4;
	sys_put_le32(st.i2c_errors, q); q += 4;
	sys_put_le32(st.timeouts, q); q += 4;
	sys_put_le32(frame_tx_dropped(), q); q += 4;
	sys_put_le32(st.reinits, q); q += 4;
	sys_put_le16(st.batch_min == UINT16_MAX ? 0 : st.batch_min, q); q += 2;
	sys_put_le16(st.batch_max, q); q += 2;

	(void)frame_tx_send(FRAME_TYPE_PPG_DIAG, dev_time_us(), 0, p, (uint16_t)(q - p));
	st.batch_min = UINT16_MAX;
	st.batch_max = 0;
}

/* i2c22 주소 스캔 (d2-2): 1바이트 읽기에 ACK한 주소 기록 (record addresses that ACK) */
static void bus_scan(void)
{
	st.scan_n = 0;
	for (uint16_t a = 0x08; a <= 0x77; a++) {
		uint8_t b;

		if (i2c_read(bus.bus, &b, 1, a) == 0) {
			if (st.scan_n < ARRAY_SIZE(st.scan)) {
				st.scan[st.scan_n] = (uint8_t)a;
			}
			st.scan_n++;
		}
	}
}

/* 칩 확인 + 설정 (identify and configure). 0 = OK */
static int chip_init(void)
{
	uint8_t v = 0;
	int err = i2c_reg_read_byte_dt(&bus, REG_PART_ID, &st.part);

	if (err) {
		return err;
	}
	(void)i2c_reg_read_byte_dt(&bus, REG_REV_ID, &st.rev);
	if (st.part != PART_ID_MAX30102) {
		return -ENODEV;
	}

	/* 리셋 → RESET 비트가 0이 될 때까지 (reset, wait for the bit to self-clear) */
	err = i2c_reg_write_byte_dt(&bus, REG_MODE_CFG, MODE_RESET);
	if (err) {
		return err;
	}
	for (int i = 0; i < 10; i++) {
		k_msleep(1);
		err = i2c_reg_read_byte_dt(&bus, REG_MODE_CFG, &v);
		if (!err && !(v & MODE_RESET)) {
			break;
		}
	}
	if (err || (v & MODE_RESET)) {
		return err ? err : -ETIMEDOUT;
	}

	/* 전원 켤 때 생긴 PWR_RDY 해제 → INT가 high로 복귀 (clear power-up PWR_RDY, d2-5) */
	err = i2c_reg_read_byte_dt(&bus, REG_INT_STATUS1, &v);
	if (err) {
		return err;
	}

	const uint8_t cfg[][2] = {
		{REG_FIFO_CFG, FIFO_CFG_VAL},
		{REG_SPO2_CFG, SPO2_CFG_VAL},
		{REG_LED1_PA, PPG_LED_RED},
		{REG_LED2_PA, PPG_LED_IR},
		{REG_INT_EN1, INT_A_FULL},
		{REG_INT_EN2, 0},
		{REG_FIFO_WR, 0},     /* FIFO_WR_PTR */
		{REG_FIFO_WR + 1, 0}, /* OVF_COUNTER */
		{REG_FIFO_WR + 2, 0}, /* FIFO_RD_PTR */
		{REG_MODE_CFG, MODE_SPO2},
	};

	for (size_t i = 0; i < ARRAY_SIZE(cfg); i++) {
		err = i2c_reg_write_byte_dt(&bus, cfg[i][0], cfg[i][1]);
		if (err) {
			return err;
		}
	}
	return 0;
}

static void init_until_ok(void)
{
	while ((st.init_err = (int8_t)chip_init()) != 0) {
		bus_scan();
		send_diag(); /* Part ID·스캔·오류를 PC에 알림 (report failure) */
		k_msleep(1000);
	}
}

static void ppg_thread(void *a, void *b, void *c)
{
	ARG_UNUSED(a);
	ARG_UNUSED(b);
	ARG_UNUSED(c);

	static uint8_t raw[FIFO_DEPTH * 6];      /* 샘플당 Red 3 B + IR 3 B */
	static uint8_t out[FIFO_DEPTH * 8];      /* 샘플당 red int32 + ir int32 */
	const uint32_t period_us = 1000000U / PPG_RATE_HZ;
	uint32_t idx = 0;                        /* 누적 샘플 번호 (sample index) */
	int64_t next_diag;

	BUILD_ASSERT(sizeof(out) <= FRAME_MAX_PAYLOAD, "frame too large");

	st.batch_min = UINT16_MAX;
	k_msleep(10); /* 모듈 전원 안정화 (power-up) */
	bus_scan();
	init_until_ok();
	next_diag = k_uptime_get() + DIAG_MS;

	while (1) {
		uint8_t s1;
		uint8_t ptr[3]; /* WR_PTR, OVF_COUNTER, RD_PTR */
		uint32_t t_us;
		bool edge;

		if (k_sem_take(&int_sem, K_MSEC(WAIT_MS)) != 0) {
			st.timeouts++;
			edge = false;
			t_us = dev_time_us();
		} else {
			edge = true;
			t_us = int_t_us;
		}

		if (k_uptime_get() >= next_diag) {
			send_diag();
			next_diag += DIAG_MS;
		}

		/* INT 해제 + 칩 리셋 감지 (clear INT, detect a chip reset via PWR_RDY) */
		if (i2c_reg_read_byte_dt(&bus, REG_INT_STATUS1, &s1) != 0 ||
		    i2c_burst_read_dt(&bus, REG_FIFO_WR, ptr, sizeof(ptr)) != 0) {
			st.i2c_errors++;
			k_msleep(10);
			continue;
		}
		if (s1 & INT_PWR_RDY) {
			st.reinits++;
			init_until_ok();
			continue;
		}

		uint32_t n = (ptr[0] - ptr[2]) & (FIFO_DEPTH - 1);
		const uint32_t ovf = ptr[1] & 0x1F;

		if (n == 0 && ovf) {
			n = FIFO_DEPTH; /* 가득 참 (full: WR == RD) */
		}
		if (n == 0) {
			continue;
		}
		if (i2c_burst_read_dt(&bus, REG_FIFO_DATA, raw, n * 6) != 0) {
			st.i2c_errors++;
			k_msleep(10);
			continue;
		}

		for (uint32_t i = 0; i < n; i++) {
			const uint8_t *r = &raw[i * 6];
			const uint32_t red = sys_get_be24(&r[0]) & SAMPLE_MASK;
			const uint32_t ir = sys_get_be24(&r[3]) & SAMPLE_MASK;

			sys_put_le32(red, &out[i * 8]);
			sys_put_le32(ir, &out[i * 8 + 4]);
		}

		/* 마지막 샘플 시각 (time of the last sample), 위 머리말 참고 */
		if (edge && !ovf && n >= BATCH) {
			t_us += (n - BATCH) * period_us;
		}
		(void)frame_tx_send(FRAME_TYPE_PPG, t_us, idx, out, (uint16_t)(n * 8));

		/* 롤오버 꺼짐 → 넘친 샘플은 FIFO 뒤쪽에서 버려짐 → 번호를 건너뜀 (skip lost indices) */
		idx += n + ovf;
		st.samples += n;
		st.ovf_samples += ovf;
		st.batch_min = MIN(st.batch_min, (uint16_t)n);
		st.batch_max = MAX(st.batch_max, (uint16_t)n);
	}
}

K_THREAD_STACK_DEFINE(ppg_stack, 1536);
static struct k_thread ppg_thread_data;

int max30102_start(void)
{
	int err;

	if (!i2c_is_ready_dt(&bus) || !gpio_is_ready_dt(&irq)) {
		return -ENODEV;
	}
	err = gpio_pin_configure_dt(&irq, GPIO_INPUT);
	if (err) {
		return err;
	}
	gpio_init_callback(&irq_cb, int_isr, BIT(irq.pin));
	err = gpio_add_callback_dt(&irq, &irq_cb);
	if (err) {
		return err;
	}
	/* ACTIVE_LOW → "active로 가는 에지" = 하강 에지 (falling edge) */
	err = gpio_pin_interrupt_configure_dt(&irq, GPIO_INT_EDGE_TO_ACTIVE);
	if (err) {
		return err;
	}
	k_thread_create(&ppg_thread_data, ppg_stack, K_THREAD_STACK_SIZEOF(ppg_stack),
			ppg_thread, NULL, NULL, NULL, K_PRIO_PREEMPT(4), 0, K_NO_WAIT);
	k_thread_name_set(&ppg_thread_data, "ppg");
	return 0;
}
```

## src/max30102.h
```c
/*
 * MAX30102 PPG 모듈 (MAX30102 PPG module) — Day 2
 *
 * i2c22 (xiao_i2c): SDA=D4(P1.10), SCL=D5(P1.11), 주소 0x57, INT=D3(P1.07, active low)
 *
 * 설정 (Config): SpO2 모드 (Red + IR), 100 Hz, 펄스폭 411 µs (18비트), ADC 4096 nA,
 *   평균 없음, FIFO A_FULL = 미읽음 17개 → INT
 *   LED 전류는 CMake -DPPG_LED_RED=0x24 -DPPG_LED_IR=0x24 (0.2 mA/LSB)
 * 출력 (Output):
 *   PPG (type 1): 샘플 N개 × (red int32, ir int32), 보통 N = 17 (약 170 ms)
 *   PPG_DIAG (0x7B): 약 1초마다 Part ID, 설정, I2C 스캔 결과, 오버플로·오류
 */
#ifndef MAX30102_H_
#define MAX30102_H_

/** PPG 스레드 시작 (start the PPG thread). 0 = OK. 칩 초기화는 스레드에서 재시도 */
int max30102_start(void);

#endif /* MAX30102_H_ */
```

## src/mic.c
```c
/*
 * SPH0645 I2S 마이크 수신 + decimation (I2S capture and decimation)
 *
 * 클럭 (Clock) — nRF54L15 PS 8.11.5, Table 42:
 *   MCK = 32 MHz / N (정수 분주), LRCK = MCK / RATIO, SCK = 2 × LRCK × 32 = 64 × LRCK.
 *   요청 33 333 Hz → 드라이버가 N=15, RATIO=64 선택 → LRCK 33 333.33 Hz, SCK 2.1333 MHz
 *   (SPH0645 사양 SCK 2.048–4.096 MHz 안). 정확히 32 kHz는 만들 수 없음 (N·RATIO=1000 불가).
 *
 * 데이터 (Data) — SPH0645 datasheet:
 *   I2S 형식, 32 SCK/half-frame, MSB 먼저, 24비트 2의 보수 중 상위 18비트 유효.
 *   SEL=GND → 왼쪽(LRCK low) 채널. 오른쪽 구간은 high-Z (+100 kΩ 풀다운 → 0 근처).
 *   18비트 값: (int32_t)word >> 14  ⚠️ 진단 프레임의 비트 마스크로 정렬 확인
 *
 * 출력 (Output frames):
 *   MIC (type 2): int16 샘플들. 기본 = decimated 8 333.33 Hz, MIC_RAW=1 이면 33 333.33 Hz 원본(>>2)
 *   MIC_DIAG (0x7E): 4블록(약 31 ms)마다 통계·비트 마스크·원본 워드·레지스터 값
 */
#include "mic.h"
#include "frame_tx.h"
#include "decim_coeffs.h"

#include <errno.h>
#include <string.h>
#include <zephyr/kernel.h>
#include <zephyr/device.h>
#include <zephyr/drivers/i2s.h>
#include <zephyr/sys/byteorder.h>
#include <nrfx.h>
#include <arm_math.h>

#ifndef MIC_RAW
#define MIC_RAW 0
#endif

#define I2S_FS_REQ       33333                 /* → 33 333.33 Hz 실제 (actual) */
#define BLOCK_FRAMES     256                   /* 스테레오 프레임 / stereo frames per block (7.68 ms) */
#define BLOCK_WORDS      (BLOCK_FRAMES * 2)
#define BLOCK_BYTES      (BLOCK_WORDS * sizeof(uint32_t))
#define N_BLOCKS         8
#define DISCARD_BLOCKS   8                     /* 시작 후 약 61 ms 버림 (≥ 50 ms, datasheet) */
#define DIAG_EVERY       4                     /* 진단 프레임 주기 (blocks) */
#define OUT_PER_BLOCK    (BLOCK_FRAMES / DECIM_FACTOR) /* 64 */

BUILD_ASSERT(BLOCK_FRAMES % DECIM_FACTOR == 0, "block must be a multiple of DECIM_FACTOR");

K_MEM_SLAB_DEFINE_STATIC(i2s_slab, BLOCK_BYTES, N_BLOCKS, 4);

static const struct device *const i2s_dev = DEVICE_DT_GET(DT_NODELABEL(i2s20));

/* decimation */
static arm_fir_decimate_instance_f32 decim;
static float32_t decim_state[DECIM_NUM_TAPS + BLOCK_FRAMES - 1];
static float32_t xin[BLOCK_FRAMES];
static float32_t yout[OUT_PER_BLOCK];
static int16_t out16[BLOCK_FRAMES];

static uint32_t i2s_errors;

/* 진단 누적값 (diagnostic accumulators) */
struct diag_acc {
	int32_t l_min;
	int32_t l_max;
	int64_t l_sum;
	uint32_t l_or;
	uint32_t l_and;
	uint32_t r_or;
	uint32_t r_and;
	uint32_t n;
};

static void diag_reset(struct diag_acc *d)
{
	d->l_min = INT32_MAX;
	d->l_max = INT32_MIN;
	d->l_sum = 0;
	d->l_or = 0;
	d->l_and = UINT32_MAX;
	d->r_or = 0;
	d->r_and = UINT32_MAX;
	d->n = 0;
}

static int16_t sat16(float32_t v)
{
	if (v > 32767.0f) {
		return 32767;
	}
	if (v < -32768.0f) {
		return -32768;
	}
	return (int16_t)v;
}

static void send_diag(const struct diag_acc *d, const uint32_t *last_words)
{
	uint8_t p[80];
	uint8_t *q = p;

	*q++ = 1;              /* version */
	*q++ = MIC_RAW ? 1 : 0; /* mode: 0 = decimated, 1 = raw */
	sys_put_le16((uint16_t)MIN(d->n, UINT16_MAX), q); q += 2;
	sys_put_le32((uint32_t)d->l_min, q); q += 4;
	sys_put_le32((uint32_t)d->l_max, q); q += 4;
	sys_put_le32((uint32_t)(int32_t)(d->n ? d->l_sum / (int64_t)d->n : 0), q); q += 4;
	sys_put_le32(d->l_or, q); q += 4;
	sys_put_le32(d->l_and, q); q += 4;
	sys_put_le32(d->r_or, q); q += 4;
	sys_put_le32(d->r_and, q); q += 4;
	for (int i = 0; i < 8; i++) {
		sys_put_le32(last_words[i], q); q += 4;
	}
	sys_put_le32(i2s_errors, q); q += 4;
	sys_put_le32(frame_tx_dropped(), q); q += 4;
	/* 드라이버가 실제로 고른 클럭 설정 (clock settings actually programmed) */
	sys_put_le32(NRF_I2S20->CONFIG.MCKFREQ, q); q += 4;
	sys_put_le32(NRF_I2S20->CONFIG.RATIO, q); q += 4;

	(void)frame_tx_send(FRAME_TYPE_MIC_DIAG, dev_time_us(), 0, p, (uint16_t)(q - p));
}

static int i2s_setup_and_start(void)
{
	struct i2s_config cfg = {
		.word_size = 32,
		.channels = 2,
		.format = I2S_FMT_DATA_FORMAT_I2S,
		.options = I2S_OPT_BIT_CLK_MASTER | I2S_OPT_FRAME_CLK_MASTER,
		.frame_clk_freq = I2S_FS_REQ,
		.mem_slab = &i2s_slab,
		.block_size = BLOCK_BYTES,
		.timeout = 1000,
	};
	int err = i2s_configure(i2s_dev, I2S_DIR_RX, &cfg);

	if (err) {
		return err;
	}
	return i2s_trigger(i2s_dev, I2S_DIR_RX, I2S_TRIGGER_START);
}

static void mic_thread(void *a, void *b, void *c)
{
	ARG_UNUSED(a);
	ARG_UNUSED(b);
	ARG_UNUSED(c);

	struct diag_acc d;
	uint32_t last_words[8] = {0};
	uint32_t blocks = 0;
	uint32_t in_idx = 0;   /* 원본 샘플 누적 번호 (raw sample index) */
	uint32_t out_idx = 0;  /* decimated 샘플 누적 번호 */

	diag_reset(&d);

	while (1) {
		void *blk;
		size_t size;
		int err = i2s_read(i2s_dev, &blk, &size);

		if (err) {
			/* 오버런 등 → 멈추고 다시 시작 (overrun etc. → drop and restart) */
			i2s_errors++;
			(void)i2s_trigger(i2s_dev, I2S_DIR_RX, I2S_TRIGGER_DROP);
			k_msleep(10);
			if (i2s_setup_and_start() != 0) {
				k_msleep(500);
			}
			blocks = 0;
			continue;
		}

		const uint32_t t_us = dev_time_us(); /* 블록 끝 ≈ 마지막 샘플 시각 */
		const uint32_t *w = blk;
		const uint32_t n = size / (2 * sizeof(uint32_t));

		blocks++;
		if (blocks <= DISCARD_BLOCKS || n != BLOCK_FRAMES) {
			k_mem_slab_free(&i2s_slab, blk);
			continue;
		}

		memcpy(last_words, w, sizeof(last_words));
		for (uint32_t i = 0; i < n; i++) {
			const uint32_t wl = w[2 * i];
			const uint32_t wr = w[2 * i + 1];
			const int32_t v = ((int32_t)wl) >> 14; /* 18비트 부호 있는 값 */

			d.l_min = MIN(d.l_min, v);
			d.l_max = MAX(d.l_max, v);
			d.l_sum += v;
			d.l_or |= wl;
			d.l_and &= wl;
			d.r_or |= wr;
			d.r_and &= wr;
#if MIC_RAW
			out16[i] = (int16_t)(v >> 2);
#else
			xin[i] = (float32_t)v * (1.0f / 131072.0f);
#endif
		}
		d.n += n;
		k_mem_slab_free(&i2s_slab, blk);

#if MIC_RAW
		(void)frame_tx_send(FRAME_TYPE_MIC, t_us, in_idx, out16, n * sizeof(int16_t));
#else
		arm_fir_decimate_f32(&decim, xin, yout, BLOCK_FRAMES);
		for (uint32_t i = 0; i < OUT_PER_BLOCK; i++) {
			out16[i] = sat16(yout[i] * 32768.0f);
		}
		(void)frame_tx_send(FRAME_TYPE_MIC, t_us, out_idx, out16,
				    OUT_PER_BLOCK * sizeof(int16_t));
		out_idx += OUT_PER_BLOCK;
#endif
		in_idx += n;

		if ((blocks % DIAG_EVERY) == 0) {
			send_diag(&d, last_words);
			diag_reset(&d);
		}
	}
}

K_THREAD_STACK_DEFINE(mic_stack, 2048);
static struct k_thread mic_thread_data;

int mic_start(void)
{
	int err;

	if (!device_is_ready(i2s_dev)) {
		return -ENODEV;
	}
	if (arm_fir_decimate_init_f32(&decim, DECIM_NUM_TAPS, DECIM_FACTOR, decim_coeffs,
				      decim_state, BLOCK_FRAMES) != ARM_MATH_SUCCESS) {
		return -EINVAL;
	}
	err = i2s_setup_and_start();
	if (err) {
		return err;
	}
	k_thread_create(&mic_thread_data, mic_stack, K_THREAD_STACK_SIZEOF(mic_stack),
			mic_thread, NULL, NULL, NULL, K_PRIO_PREEMPT(5), K_FP_REGS, K_NO_WAIT);
	k_thread_name_set(&mic_thread_data, "mic");
	return 0;
}
```

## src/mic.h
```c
/*
 * SPH0645 I2S 마이크 모듈 (SPH0645 I2S microphone module)
 *
 * I2S20 Master, 32비트 워드 × 2채널, LRCK 33 333.33 Hz (MCK 32 MHz/15, RATIO 64)
 * → 18비트 값 → FIR decimation ÷4 → 8 333.33 Hz int16 → MIC 프레임
 */
#ifndef MIC_H_
#define MIC_H_

/** I2S 설정 + 수신 스레드 시작 (configure I2S and start the RX thread). 0 = OK */
int mic_start(void);

#endif /* MIC_H_ */
```

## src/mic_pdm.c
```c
/*
 * 내장 PDM 마이크 수신 + decimation (On-board PDM capture and decimation)
 *
 * 클럭 (Clock) — nRF54L15 PDM, PCLK32M:
 *   PDM CLK = 32 MHz / PRESCALER, fs = PDM CLK / RATIO.
 *   요청 16 667 Hz, CLK 1.2–3.2 MHz → nrfx가 PRESCALER 24, RATIO 80 선택
 *   → CLK 1.3333 MHz, fs 16 666.67 Hz (진단 프레임에 실제 레지스터 값 포함)
 *   Requested 16 667 Hz → PRESCALER 24, RATIO 80 (registers echoed in diag frames)
 *
 * 채널 (Channel):
 *   마이크의 L/R 선택 핀 연결을 몰라 스테레오로 받고 L·R 통계를 모두 보냄.
 *   출력 채널은 PDM_OUT_CH (0 = L, 1 = R). 신호가 없는 쪽은 진단 값으로 확인.
 *   Capture stereo, report stats for both edges; PDM_OUT_CH selects the output.
 *
 * 출력 (Output frames):
 *   MIC_PDM (type 5): int16 128개, 8 333.33 Hz, first_idx = 출력 샘플 번호
 *   PDM_DIAG (0x7D): 4블록(약 61 ms)마다 L/R 최소·최대·평균, 오류, 레지스터
 */
#include "mic_pdm.h"
#include "frame_tx.h"
#include "decim_coeffs_pdm.h"

#include <errno.h>
#include <zephyr/kernel.h>
#include <zephyr/device.h>
#include <zephyr/audio/dmic.h>
#include <zephyr/sys/byteorder.h>
#include <nrfx.h>
#include <arm_math.h>

#ifndef PDM_OUT_CH
#define PDM_OUT_CH 0 /* 0 = L (falling edge), 1 = R */
#endif

#define PDM_FS_REQ       16667                 /* → 16 666.67 Hz 실제 (actual) */
#define PDM_CLK_MIN      1200000               /* 저전력 모드(<1 MHz) 피함 / avoid low-power mode */
#define PDM_CLK_MAX      3200000
#define BLOCK_FRAMES     256                   /* 스테레오 프레임 / stereo frames (15.36 ms) */
#define BLOCK_SAMPLES    (BLOCK_FRAMES * 2)
#define BLOCK_BYTES      (BLOCK_SAMPLES * sizeof(int16_t))
#define N_BLOCKS         8
#define DISCARD_BLOCKS   8                     /* 시작 후 약 123 ms 버림 (mic + filter settling) */
#define DIAG_EVERY       4
#define READ_TIMEOUT_MS  200
#define OUT_PER_BLOCK    (BLOCK_FRAMES / PDM_DECIM_FACTOR) /* 128 */

BUILD_ASSERT(BLOCK_FRAMES % PDM_DECIM_FACTOR == 0, "block must be a multiple of the factor");
BUILD_ASSERT(OUT_PER_BLOCK * sizeof(int16_t) <= FRAME_MAX_PAYLOAD, "frame too large");

K_MEM_SLAB_DEFINE_STATIC(pdm_slab, BLOCK_BYTES, N_BLOCKS, 4);

static const struct device *const dmic_dev = DEVICE_DT_GET(DT_NODELABEL(pdm20));

static arm_fir_decimate_instance_f32 decim;
static float32_t decim_state[PDM_DECIM_NUM_TAPS + BLOCK_FRAMES - 1];
static float32_t xin[BLOCK_FRAMES];
static float32_t yout[OUT_PER_BLOCK];
static int16_t out16[OUT_PER_BLOCK];

static uint32_t pdm_errors;

struct ch_acc {
	int32_t min;
	int32_t max;
	int64_t sum;
};

struct pdm_diag {
	struct ch_acc ch[2];
	uint32_t n;
};

static void diag_reset(struct pdm_diag *d)
{
	for (int c = 0; c < 2; c++) {
		d->ch[c].min = INT32_MAX;
		d->ch[c].max = INT32_MIN;
		d->ch[c].sum = 0;
	}
	d->n = 0;
}

static int16_t sat16(float32_t v)
{
	if (v > 32767.0f) {
		return 32767;
	}
	if (v < -32768.0f) {
		return -32768;
	}
	return (int16_t)v;
}

static void send_diag(const struct pdm_diag *d)
{
	uint8_t p[48];
	uint8_t *q = p;

	*q++ = 1;          /* version */
	*q++ = PDM_OUT_CH; /* 출력 채널 (output channel) */
	sys_put_le16((uint16_t)MIN(d->n, UINT16_MAX), q); q += 2;
	for (int c = 0; c < 2; c++) {
		sys_put_le32((uint32_t)d->ch[c].min, q); q += 4;
		sys_put_le32((uint32_t)d->ch[c].max, q); q += 4;
		sys_put_le32((uint32_t)(int32_t)(d->n ? d->ch[c].sum / (int64_t)d->n : 0), q);
		q += 4;
	}
	sys_put_le32(pdm_errors, q); q += 4;
	sys_put_le32(frame_tx_dropped(), q); q += 4;
	/* 드라이버가 실제로 쓴 레지스터 (registers actually programmed) */
	sys_put_le32(NRF_PDM20->PRESCALER, q); q += 4;
	sys_put_le32(NRF_PDM20->RATIO, q); q += 4;
	sys_put_le32(NRF_PDM20->GAINL, q); q += 4;

	(void)frame_tx_send(FRAME_TYPE_PDM_DIAG, dev_time_us(), 0, p, (uint16_t)(q - p));
}

static int pdm_setup_and_start(void)
{
	struct pcm_stream_cfg stream = {
		.pcm_rate = PDM_FS_REQ,
		.pcm_width = 16,
		.block_size = BLOCK_BYTES,
		.mem_slab = &pdm_slab,
	};
	struct dmic_cfg cfg = {
		.io = {
			.min_pdm_clk_freq = PDM_CLK_MIN,
			.max_pdm_clk_freq = PDM_CLK_MAX,
			.min_pdm_clk_dc = 40,
			.max_pdm_clk_dc = 60,
		},
		.streams = &stream,
		.channel = {
			.req_num_streams = 1,
			.req_num_chan = 2,
			.req_chan_map_lo = dmic_build_channel_map(0, 0, PDM_CHAN_LEFT) |
					   dmic_build_channel_map(1, 0, PDM_CHAN_RIGHT),
		},
	};
	int err = dmic_configure(dmic_dev, &cfg);

	if (err) {
		return err;
	}
	return dmic_trigger(dmic_dev, DMIC_TRIGGER_START);
}

static void mic_pdm_thread(void *a, void *b, void *c)
{
	ARG_UNUSED(a);
	ARG_UNUSED(b);
	ARG_UNUSED(c);

	struct pdm_diag d;
	uint32_t blocks = 0;
	uint32_t out_idx = 0; /* decimated 샘플 누적 번호 (output sample index) */

	diag_reset(&d);

	while (1) {
		void *blk;
		size_t size;
		int err = dmic_read(dmic_dev, 0, &blk, &size, READ_TIMEOUT_MS);

		if (err) {
			/* 시간 초과·오버런 → 멈추고 다시 시작 (timeout/overrun → restart) */
			pdm_errors++;
			(void)dmic_trigger(dmic_dev, DMIC_TRIGGER_STOP);
			k_msleep(20);
			if (pdm_setup_and_start() != 0) {
				k_msleep(500);
			}
			blocks = 0;
			continue;
		}

		const uint32_t t_us = dev_time_us(); /* 블록 끝 ≈ 마지막 샘플 시각 */
		const int16_t *s = blk;
		const uint32_t n = size / (2 * sizeof(int16_t));

		blocks++;
		if (blocks <= DISCARD_BLOCKS || n != BLOCK_FRAMES) {
			k_mem_slab_free(&pdm_slab, blk);
			continue;
		}

		for (uint32_t i = 0; i < n; i++) {
			for (int ch = 0; ch < 2; ch++) {
				const int32_t v = s[2 * i + ch];

				d.ch[ch].min = MIN(d.ch[ch].min, v);
				d.ch[ch].max = MAX(d.ch[ch].max, v);
				d.ch[ch].sum += v;
			}
			xin[i] = (float32_t)s[2 * i + PDM_OUT_CH] * (1.0f / 32768.0f);
		}
		d.n += n;
		k_mem_slab_free(&pdm_slab, blk);

		arm_fir_decimate_f32(&decim, xin, yout, BLOCK_FRAMES);
		for (uint32_t i = 0; i < OUT_PER_BLOCK; i++) {
			out16[i] = sat16(yout[i] * 32768.0f);
		}
		(void)frame_tx_send(FRAME_TYPE_MIC_PDM, t_us, out_idx, out16,
				    OUT_PER_BLOCK * sizeof(int16_t));
		out_idx += OUT_PER_BLOCK;

		if ((blocks % DIAG_EVERY) == 0) {
			send_diag(&d);
			diag_reset(&d);
		}
	}
}

K_THREAD_STACK_DEFINE(mic_pdm_stack, 2048);
static struct k_thread mic_pdm_thread_data;

int mic_pdm_start(void)
{
	int err;

	if (!device_is_ready(dmic_dev)) {
		return -ENODEV;
	}
	if (arm_fir_decimate_init_f32(&decim, PDM_DECIM_NUM_TAPS, PDM_DECIM_FACTOR,
				      pdm_decim_coeffs, decim_state,
				      BLOCK_FRAMES) != ARM_MATH_SUCCESS) {
		return -EINVAL;
	}
	err = pdm_setup_and_start();
	if (err) {
		return err;
	}
	k_thread_create(&mic_pdm_thread_data, mic_pdm_stack, K_THREAD_STACK_SIZEOF(mic_pdm_stack),
			mic_pdm_thread, NULL, NULL, NULL, K_PRIO_PREEMPT(5), K_FP_REGS, K_NO_WAIT);
	k_thread_name_set(&mic_pdm_thread_data, "mic_pdm");
	return 0;
}
```

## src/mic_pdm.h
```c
/*
 * 내장 PDM 마이크 모듈 (On-board PDM microphone, XIAO nRF54L15 Sense)
 *
 * PDM20: CLK P1.12, DIN P1.13 (보드 DTS / board DTS), 전원 P0.01 (regulator-boot-on)
 * PDM CLK = 32 MHz / 24 = 1.3333 MHz, RATIO 80 → 16 666.67 Hz 스테레오 캡처
 * → 선택 채널 FIR decimation ÷2 → 8 333.33 Hz int16 → MIC_PDM 프레임 (type 5)
 * (I2S SPH0645 경로와 같은 출력 레이트 / same output rate as the I2S path)
 */
#ifndef MIC_PDM_H_
#define MIC_PDM_H_

/** PDM 설정 + 수신 스레드 시작 (configure PDM and start the RX thread). 0 = OK */
int mic_pdm_start(void);

#endif /* MIC_PDM_H_ */
```
